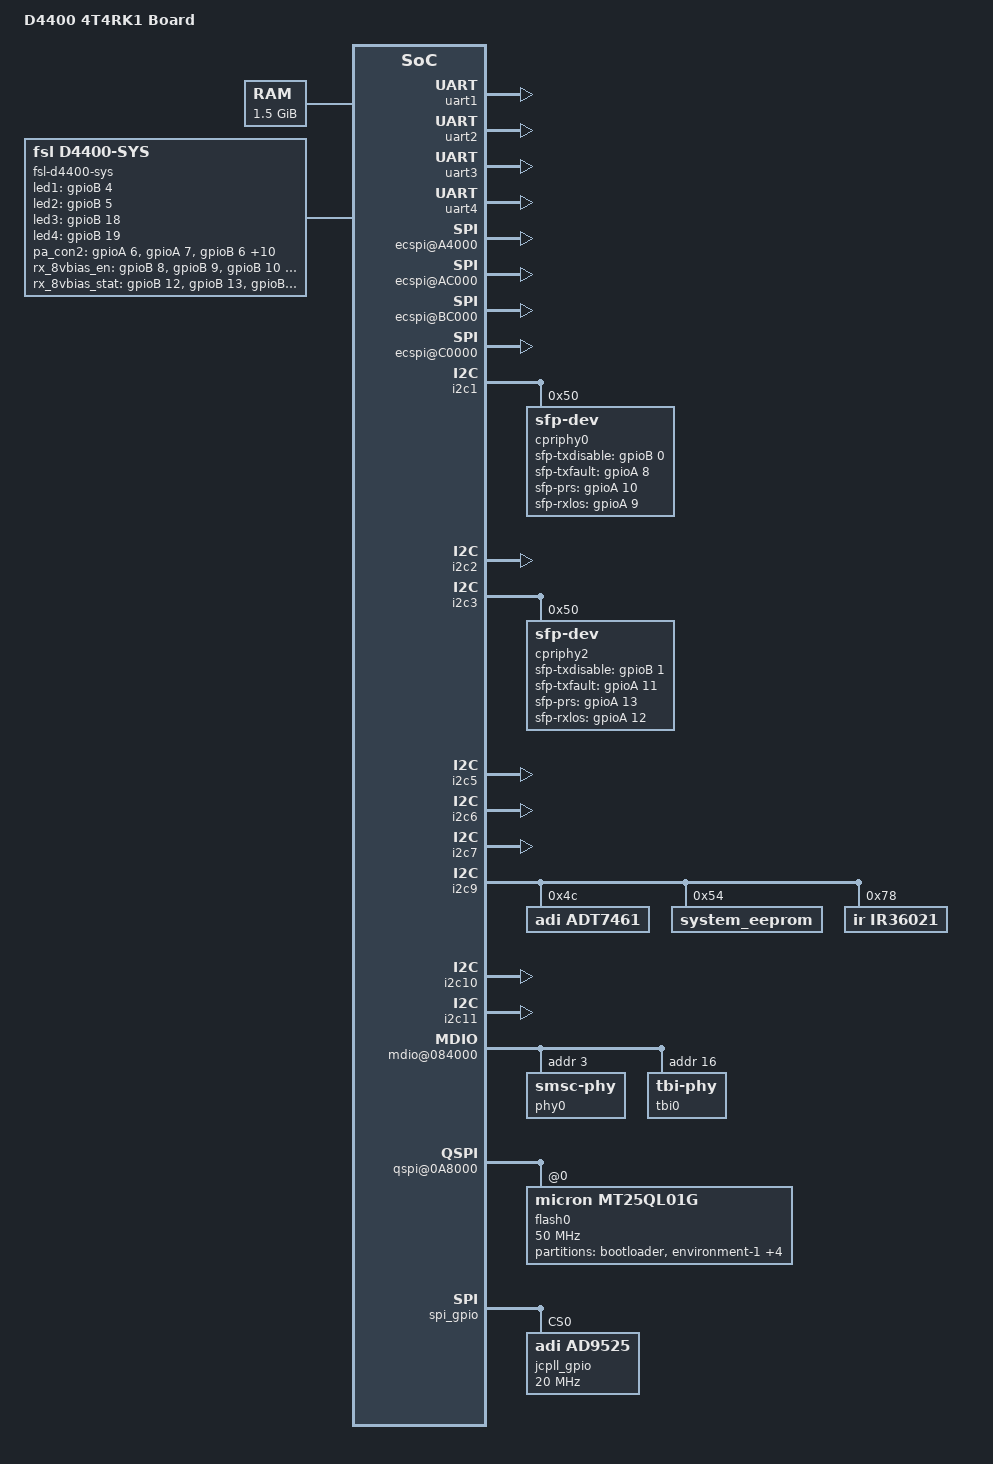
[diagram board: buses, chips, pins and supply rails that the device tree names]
/*
 * Copyright (C) 2013 Freescale Semiconductor, Inc.
 *
 * The code contained herein is licensed under the GNU General Public
 * License. You may obtain a copy of the GNU General Public License
 * Version 2 or later at the following locations:
 *
 * http://www.opensource.org/licenses/gpl-license.html
 * http://www.gnu.org/copyleft/gpl.html
 */
/dts-v1/;

/include/ "d4400.dtsi"

/ {
	model = "D4400 4T4RK1 Board";
	compatible = "fsl,d4400";

	aliases {
		cpri0ethernet0 = &cp1_framer1;
		cpri1ethernet0 = &cp2_framer1;
	};

        memory {
                reg = <0x90000000 0x60000000>;
        };

        soc@0 {
                aips-bus@1000000 { /* AIPS1 */

                        uart1: serial@ec000 {
                                pinctrl-names = "default";
                                pinctrl-0 = <&pinctrl_uart1_1>;
                                status = "okay";
                        };

                        uart2: serial@f0000 {
                                pinctrl-names = "default";
                                pinctrl-0 = <&pinctrl_uart2_1>;
                                status = "okay";
                        };

                        uart3: serial@f4000 {
                                pinctrl-names = "default";
                                pinctrl-0 = <&pinctrl_uart3_1>,
					<&pinctrl_rs485_dir_1>;
                                status = "okay";
				fsl,rs485-enable = <&gpioB 2 0>;
                        };

                        uart4: serial@f8000 {
                                pinctrl-names = "default";
                                pinctrl-0 = <&pinctrl_uart4_1>;
                                status = "okay";
                        };

			ecspi@A4000 {
				#address-cells = <1>;
				#size-cells = <0>;
				status = "okay";
				pinctrl-names = "default";
				pinctrl-0 = <&pinctrl_ecspi1_1>;
				fsl,spi-num-chipselects = <3>;
			};

			ecspi@AC000 {
				#address-cells = <1>;
				#size-cells = <0>;
				status = "okay";
				pinctrl-names = "default";
				pinctrl-0 = <&pinctrl_ecspi3_1>;
				fsl,spi-num-chipselects = <3>;
			};

			/* spi-gpio is used in place of ecspi5 due
			 * to miso/mosi signal swap in 4t4r board.
			 */

			ecspi@BC000 {
				#address-cells = <1>;
				#size-cells = <0>;
				status = "okay";
				pinctrl-names = "default";
				pinctrl-0 = <&pinctrl_ecspi7_1>;
				fsl,spi-num-chipselects = <2>;
			};

			ecspi@C0000 {
				#address-cells = <1>;
				#size-cells = <0>;
				status = "okay";
				pinctrl-names = "default";
				pinctrl-0 = <&pinctrl_ecspi8_1>;
				fsl,spi-num-chipselects = <3>;
			};

			i2c1: i2c@C4000 {
				#address-cells = <1>;
				#size-cells = <0>;
				status = "okay";
				pinctrl-names = "default";
				pinctrl-0 = <&pinctrl_i2c1_1>;

				cpriphy0: sfp0@50 {
					id = <0>;
					compatible = "sfp-dev";
					reg = <0x50 0x51>;
					max-addr = <0x2>;
					gpio-sfp-txdisable = <&gpioB 0 0>;
					gpio-sfp-txfault = <&gpioA 8 0>;
					gpio-sfp-prs = <&gpioA 10 0>;
					gpio-sfp-rxlos = <&gpioA 9 0>;
					pinctrl-names = "default";
					pinctrl-0 = <&pinctrl_sfp1_1>;
				};

			};

			i2c2: i2c@C8000 {
				#address-cells = <1>;
				#size-cells = <0>;
				status = "okay";
				pinctrl-names = "default";
				pinctrl-0 = <&pinctrl_i2c2_1>;
			};

			i2c3: i2c@CC000 {
				#address-cells = <1>;
				#size-cells = <0>;
				status = "okay";
				pinctrl-names = "default";
				pinctrl-0 = <&pinctrl_i2c3_1>;

				cpriphy2: sfp2@50 {
					id = <2>;
					compatible = "sfp-dev";
					reg = <0x50 0x51>;
					max-addr = <0x2>;
					gpio-sfp-txdisable = <&gpioB 1 0>;
					gpio-sfp-txfault = <&gpioA 11  0>;
					gpio-sfp-prs = <&gpioA 13  0>;
					gpio-sfp-rxlos = <&gpioA 12  0>;
					pinctrl-names = "default";
					pinctrl-0 = <&pinctrl_sfp2_1>;

				};
			};

			cpri@0x100000 {

				cp1_framer1: framer1@0x0 {
					reg = <0x0 0x8000>;
					framer-id = <0>;
					max-axcs = <24>;
					memblk-size = <0x1800>;
					local-mac-address = [ 00 00 AB CD 21 AB ];
					interrupts = <0 71 0x04>,
						<0 73 0x04>,
						<0 75 0x04>,
						<0 77 0x04>;
					sfp-handle = <&cpriphy0>;
					serdes-handle = <&serdes3 2>;
				};
			};
                };
                aips-bus@1200000 { /* AIPS2 */
                        #address-cells = <1>;
                        #size-cells = <1>;

			i2c5: i2c@DC000 {
				#address-cells = <1>;
				#size-cells = <0>;
				status = "okay";
				pinctrl-names = "default";
				pinctrl-0 = <&pinctrl_i2c5_1>;
			};

			i2c6: i2c@E0000 {
				#address-cells = <1>;
				#size-cells = <0>;
				status = "okay";
				pinctrl-names = "default";
				pinctrl-0 = <&pinctrl_i2c6_1>;
			};

			i2c7: i2c@E4000 {
				#address-cells = <1>;
				#size-cells = <0>;
				status = "okay";
				pinctrl-names = "default";
				pinctrl-0 = <&pinctrl_i2c7_1>;
			};

			i2c9: i2c@EC000 {
				#address-cells = <1>;
				#size-cells = <0>;
				status = "okay";
				pinctrl-names = "default";
				pinctrl-0 = <&pinctrl_i2c9_1>;

				adt7461@4c {
					compatible = "adi,adt7461";
					reg = <0x4c>;
				};

				system_eeprom: eeprom@54 {
					reg = <0x54>;
					compatible = "system_eeprom";
					pagesize = <128>;
					bytesize = <65536>;
				};

                                ir36021@78 {
                                        compatible = "ir,ir36021";
                                        reg = <0x78>;
                                };
			};

			i2c10: i2c@F0000 {
				#address-cells = <1>;
				#size-cells = <0>;
				status = "okay";
				pinctrl-names = "default";
				pinctrl-0 = <&pinctrl_i2c10_1>;
			};

			i2c11: i2c@F4000 {
				#address-cells = <1>;
				#size-cells = <0>;
				status = "okay";
				pinctrl-names = "default";
				pinctrl-0 = <&pinctrl_i2c11_1>;
			};

			cpri@0x100000 {

				cp2_framer1: framer1@0x0 {
					reg = <0x0 0x8000>;
					framer-id = <0>;
					max-axcs = <24>;
					memblk-size = <0x1800>;
					local-mac-address = [ 00 00 AB CD 21 EF ];
					interrupts = <0 84 0x04>,
						<0 86 0x04>,
						<0 88 0x04>,
						<0 90 0x04>;
					sfp-handle = <&cpriphy2>;
					serdes-handle = <&serdes3 4>;
		                };
			};
		};

		aips-bus@4000000 { /* AIPS3 */

                        iomuxc@8c000 {

				// 4t4r uart1 AISG PA
				uart1_pins {
					pinctrl_uart1_1: uart1grp-1 {
						fsl,pins = <
							325 0x80000000    /* D4400_PAD_UART1_TXD_UART_1_TXD */
							329 0x80000000    /* D4400_PAD_UART1_RXD_UART_1_RXD */
                                                >;
					};
				};

				// 4t4r uart2 AISG RET
				uart2_pins {
					pinctrl_uart2_1: uart2grp-1 {
						fsl,pins = <
							333 0x80000000    /* D4400_PAD_UART2_TXD_UART_2_TXD */
							337 0x80000000    /* D4400_PAD_UART2_RXD_UART_2_RXD */
                                                >;
					};
				};

				// 4t4r uart3 rs-485
				uart3_pins {
					pinctrl_uart3_1: uart3grp-1 {
						fsl,pins = <
							341 0x80000000    /* D4400_PAD_UART3_TXD_UART_3_TXD */
							345 0x80000000    /* D4400_PAD_UART3_RXD_UART_3_RXD */
                                                >;
					};
				};

				// 4t4rk1 uart4 linux console
                                uart4 {
                                        pinctrl_uart4_1: uart4grp-1 {
                                                fsl,pins = <
                                                        350 0x80000000    /* D4400_PAD_UART4_TXD_UART_4_TXD */
                                                        356 0x80000000    /* D4400_PAD_UART4_RXD_UART_4_RXD */
                                                >;
                                        };
                                };

                                sfpctrl_pins {
                                        pinctrl_sfp1_1: sfp1grp-1 {
                                                fsl,pins = <
							/* cpri1 sfp */
                                                        633 0x80000000    /* D4400_PAD_GPIOB0_GPIOB_0 */
                                                        529 0x80000000    /* D4400_PAD_GPIOA8_GPIOA_8 */
                                                        533 0x80000000    /* D4400_PAD_GPIOA9_GPIOA_9 */
                                                        537 0x80000000    /* D4400_PAD_GPIOA10_GPIOA_10 */
                                                >;
                                        };
                                        pinctrl_sfp2_1: sfp2grp-1 {
                                                fsl,pins = <
							/* cpri2 sfp */
                                                        640 0x80000000    /* D4400_PAD_GPIOB1_GPIOB_1 */
                                                        540 0x80000000    /* D4400_PAD_GPIOA11_GPIOA_11 */
                                                        543 0x80000000    /* D4400_PAD_GPIOA12_GPIOA_12 */
                                                        546 0x80000000    /* D4400_PAD_GPIOA13_GPIOA_13 */
                                                >;
                                        };
                                };

                                rs485_dir_pins {
                                        pinctrl_rs485_dir_1: rs485dirgrp-1 {
                                                fsl,pins = <
                                                        648 0x80000000    /* D4400_PAD_GPIOB2_GPIOB_2 */
                                                >;
                                        };
                                };

                                rxlna_8vbias_pins {
                                        pinctrl_rxlna_8vbias_1: grp-1 {
                                                fsl,pins = <
							/* Rx LNA 8v enable control, output, active low */
                                                        685 0x80000000    /* D4400_PAD_GPIOB8_GPIOB_8 */
                                                        691 0x80000000    /* D4400_PAD_GPIOB9_GPIOB_9 */
                                                        697 0x80000000    /* D4400_PAD_GPIOB10_GPIOB_10 */
                                                        703 0x80000000    /* D4400_PAD_GPIOB11_GPIOB_11 */
							/* Rx LNA 8v power good status, input, active low */
                                                        709 0x80000000    /* D4400_PAD_GPIOB12_GPIOB_12 */
                                                        715 0x80000000    /* D4400_PAD_GPIOB13_GPIOB_13 */
                                                        721 0x80000000    /* D4400_PAD_GPIOB14_GPIOB_14 */
                                                        727 0x80000000    /* D4400_PAD_GPIOB15_GPIOB_15 */
                                                >;
                                        };
                                };

                                leds_pins {
                                        pinctrl_leds_1: ledsgrp-1 {
                                                fsl,pins = <
                                                        661 0x80000000    /* D4400_PAD_GPIOB4_GPIOB_4 */
                                                        667 0x80000000    /* D4400_PAD_GPIOB5_GPIOB_5 */
                                                        745 0x80000000    /* D4400_PAD_GPIOB18_GPIOB_18 */
                                                        751 0x80000000    /* D4400_PAD_GPIOB19_GPIOB_19 */
                                                >;
                                        };
                                };

                                rmii_pins {
                                        pinctrl_rmii_1: rmiigrp-1 {
                                                fsl,pins = <
                                                        1141 0x80000000    /* D4400_PAD_GPIOD8_TSEC1_RXD0 */
                                                        1025 0x80000000    /* D4400_PAD_GPIOC24_TSEC1_RXD_1 */
							1048 0x80000000    /* D4400_PAD_GPIOC27_TSEC1_RX_ERR */
							1064 0x80000000    /* D4400_PAD_GPIOC29_TSEC1_TX_CLK */
							1072 0x80000000    /* D4400_PAD_GPIOC30_TSEC1_TXD0 */
							1080 0x80000000    /* D4400_PAD_GPIOC31_TSEC1_TXD1 */
							1106 0x80000000    /* D4400_PAD_GPIOD3_TSEC1_TXEN */
							1134 0x80000000    /* D4400_PAD_GPIOD7_TSEC1_RX_DV */
							1147 0x80000000    /* D4400_PAD_TSEC_MDC_ETSEC_MDC */
							1150 0x80000000    /* D4400_PAD_TSEC_MDIO_ETSEC_MDIO */
                                                >;
                                        };
                                };

				pa_control {

					pinctrl_pa_con2: pacongrp-2 {
                                                fsl,pins = <
							/* Alarm */
							518 0x80000000     /* D4400_PAD_GPIOA6_GPIOA_6 */
							524 0x80000000     /* D4400_PAD_GPIOA7_GPIOA_7 */

							/* PSU EN */
							673 0x80000000     /* D4400_PAD_GPIOB6_GPIOB_6 */
							679 0x80000000     /* D4400_PAD_GPIOB7_GPIOB_7 */

							/* OBS SEL */
							811 0x80000000     /* D4400_PAD_GPIOB28_GPIOB_28 */
							818 0x80000000     /* D4400_PAD_GPIOB29_GPIOB_29 */
							825 0x80000000     /* D4400_PAD_GPIOB30_GPIOB_30 */
							832 0x80000000     /* D4400_PAD_GPIOB31_GPIOB_31 */

							/* TX_EN, TRX_SW */
							878 0x80000000     /* D4400_PAD_GPIOC5_GPIOC_5 */
							894 0x80000000     /* D4400_PAD_GPIOC7_GPIOC_7 */
							942 0x80000000     /* D4400_PAD_GPIOC13_GPIOC_13 */
							958 0x80000000     /* D4400_PAD_GPIOC15_GPIOC_15 */

							/* Spare1 SPI4 */
							238 0x80000000     /* D4400_PAD_SPI4_CLK_GPIOD_28 */

							/* Spare2 SPI4 */
							/* Conflicts with spi5-clk because spi5 is spi-gpio
							 * which sets spi5-clk mux to gpioD29.  So gpioD29
							 * cannot be used here as gpio spare.
							 */
							//241 0x80000000     /* D4400_PAD_SPI4_SS0_GPIOD_29 */

							/* SS2 */
							/* Conflicts with spi8 ss2 */
							//501 0x80000000     /* D4400_PAD_GPIOA3_GPIOA_3 */

							/* LNA_CTL */
							/* LNA signals are currently unused and conflicts
							 * with ADI ROC2 cs-gpios gpioC20/22/23.
							 */
							//996 0x80000000     /* D4400_PAD_GPIOC20_GPIOC_20 */
							//1003 0x80000000    /* D4400_PAD_GPIOC21_GPIOC_21 */
							//1010 0x80000000    /* D4400_PAD_GPIOC22_GPIOC_22 */
							//1017 0x80000000    /* D4400_PAD_GPIOC23_GPIOC_23 */
                                                >;
					};
				};

                                ad9525_gpiospi_pins {
                                        pinctrl_ad9525_gpiospi_1: ad9525gpiospigrp-1 {
                                                fsl,pins = <
                                                        247 0x80000000    /* D4400_PAD_SPI5_MOSI_GPIOE_8 */
                                                        251 0x80000000    /* D4400_PAD_SPI5_MISO_GPIOE_9 */
                                                        254 0x80000000    /* D4400_PAD_SPI5_CLK_GPIOD_29 */
                                                        257 0x80000000    /* D4400_PAD_SPI5_SS0_GPIOD_30 */
                                                >;
                                        };
                                };
			};

			mdio@084000 {
				phy0: smsc-phy@0 {
					reg = <3>;
					device_type = "ethernet-phy";
				};

				tbi0: tbi-phy@10 {
					device_type = "tbi-phy";
					reg = <0x10>;
				};
			};

			qspi@0A8000 {
				flash0: mt25ql01g@0 {
					#address-cells = <1>;
					#size-cells = <1>;
					compatible = "micron,mt25ql01g";
					spi-max-frequency = <50000000>;
					io-mode = <4>; /* 1-single, 4-quad IO */

					/* 128MB flash */
					partition@0 {
						/* U-Boot Image-512KB */
						reg = <0x0 0x00080000>;
						label = "bootloader";
						read-only;
					};
					partition@00080000 {
						/* Env variables, 64KB, area 1*/
						reg = <0x000080000 0x00010000>;
						label = "environment-1";
					};
					partition@00090000 {
						/* Env variables, 64KB, area 2*/
						reg = <0x000090000 0x00010000>;
						label = "environment-2";
					};
					partition@000A0000 {
						/* U-Boot Redundant Image-512KB */
						reg = <0x000A0000 0x00080000>;
						label = "redundant-bootloader";
						read-only;
					};
					partition@00120000 {
						/* 64MB for Linux image */
						reg = <0x00120000 0x04000000>;
						label = "kernel";
					};
					partition@04120000 {
						/* 62.875 MB for JFFS2 based Root file System */
						reg = <0x04120000 0x03EE0000>;
						label = "filesystem";
					};
				};
			};
		};

		fsl-d4400-sys {
			compatible = "fsl,d4400-sys";
			eeprom-handle =<&system_eeprom>;
			gpio-led1 = <&gpioB 4  0>;
			gpio-led2 = <&gpioB 5  0>;
			gpio-led3 = <&gpioB 18  0>;
			gpio-led4 = <&gpioB 19  0>;

			pa_con2 = <&gpioA 6 0>, /* PA_ALARM1_B */
				<&gpioA 7 0>,	/* PA_ALARM2_B */
				<&gpioB 6 0>,	/* PA_PSU_EN1*/
				<&gpioB 7 0>,	/* PA_PSU_EN2 */
				<&gpioB 28 0>,	/* PA_OBS_SEL1A */
				<&gpioB 29 0>,	/* PA_OBS_SEL1B */
				<&gpioB 30 0>,	/* PA_OBS_SEL2A */
				<&gpioB 31 0>,	/* PA_OBS_SEL2B */
				<&gpioC 5 0>,	/* PA_TX_EN1 */
				<&gpioC 7 0>,	/* PA_TX_EN2 */
				<&gpioC 13 0>,	/* PA_TRX_SW1 */
				<&gpioC 15 0>,	/* PA_TRX_SW2 */
				<&gpioD 28 0>;	/* PA_SPARE1 */
				//<&gpioD 29 0>;	/* PA_SPARE2 */
				//<&gpioA 3 0>,		/* PA_SS2 */
				//<&gpioC 20 0>,	/* PA_LNA_CTL_1A */
				//<&gpioC 21 0>,	/* PA_LNA_CTL_1B */
				//<&gpioC 22 0>,	/* PA_LNA_CTL_2A */
				//<&gpioC 23 0>;	/* PA_LNA_CTL_2B */

			rx_8vbias_en = <&gpioB 8 0>, /* Rx1 LNA 8v enable, out, active low */
				<&gpioB 9 0>, /* Rx2 LNA 8v enable, out, active low */
				<&gpioB 10 0>, /* Rx3 LNA 8v enable, out, active low */
				<&gpioB 11 0>; /* Rx4 LNA 8v enable, out, active low */
			rx_8vbias_stat = <&gpioB 12 0>, /* Rx1 LNA 8v status, in, active low */
				<&gpioB 13 0>, /* Rx2 LNA 8v status, in, active low */
				<&gpioB 14 0>, /* Rx3 LNA 8v status, in, active low */
				<&gpioB 15 0>; /* Rx4 LNA 8v status, in, active low */

			pinctrl-names = "default";
                        pinctrl-0 = <&pinctrl_leds_1>,
				<&pinctrl_rmii_1>,
                                <&pinctrl_ad9525_gpiospi_1>,
				<&pinctrl_pa_con2>,
				<&pinctrl_rxlna_8vbias_1>;
		};

		/* Spi gpio used in place of ecspi5 due to miso/mosi
		 * signal swap on 4T4R POC.  Signals gpio-sck, gpio-miso,
		 * gpio-mosi, and cs-gpios are added as dynamic overlays.
		 */
                spi_gpio: spi_gpio@5 {
                        compatible = "spi-gpio";
                        #address-cells = <1>;
                        #size-cells = <0>;
                        num-chipselects = <1>;

                        /* spidev driver */
                        jcpll_gpio: ad9525_gpio@0 {
                                compatible = "adi,ad9525";
                                spi-max-frequency = <20000000>;
                                reg = <0x0>;	/* Ending chip select:
						 * 0-one cs, 1-two cs, etc.
						 */
                                /* spi-cpha; */
                                /* spi-cpol; */
                                /* spi-cs-high; */
                        };
                };

                xcvr_if: xcvr_if@1 {
			compatible = "fsl,xcvr-interface";

			xcvr-roc1 {
				#address-cells = <1>;
				#size-cells = <1>;
				platform-drv-name = "roc_misc_driver";
				/* FMC connector: 0-none, 1-fmc1, 2-fmc2, 3-fmc1 & fmc2 */
				connector-fmc = <1>;
				interrupt-parent = <&gpioA>;
				interrupts = <16 0x04>,
					<17 0x04>;
				id = <1>;
				cs-gpios = <&gpioC 16 0>,
					<&gpioC 18 0>,
					<&gpioC 19 0>;
				tx-reset = <5>;
				rx-reset = <3>;

				eeprom-handle =<&system_eeprom>;
				ipmi-mfg-str = "Freescale", "NXP", "Custom";
				ipmi-name-str =
					"FSL D4400 4T4R Reference Board",
					"NXP D4400-4T4R21 System",
					"NXP D4400-21RRH2W5 System",
					"Custom0 System",
					"NXP AFD4400-4T4RK1 System";
			};

			xcvr-roc2 {
				#address-cells = <1>;
				#size-cells = <1>;
				platform-drv-name = "roc_misc_driver";
				/* FMC connector: 0-none, 1-fmc1, 2-fmc2, 3-fmc1 & fmc2 */
				connector-fmc = <2>;
				interrupt-parent = <&gpioA>;
				interrupts = <18 0x04>,
					<19 0x04>;
				id = <2>;
				cs-gpios = <&gpioC 20 0>,
					<&gpioC 22 0>,
					<&gpioC 23 0>;
				tx-reset = <6>;
				rx-reset = <4>;

				eeprom-handle =<&system_eeprom>;
				ipmi-mfg-str = "Freescale", "NXP", "Custom";
				ipmi-name-str =
					"FSL D4400 4T4R Reference Board",
					"NXP D4400-4T4R21 System",
					"NXP D4400-21RRH2W5 System",
					"Custom0 System",
					"NXP AFD4400-4T4RK1 System";
			};
                };
        };

	landshark@0xc000000 { /* LandShark */
		compatible = "fsl,landshark";
		address = <0xc0000000>;
		length = <0x10000000>;
		status = "okay";
	};
};
